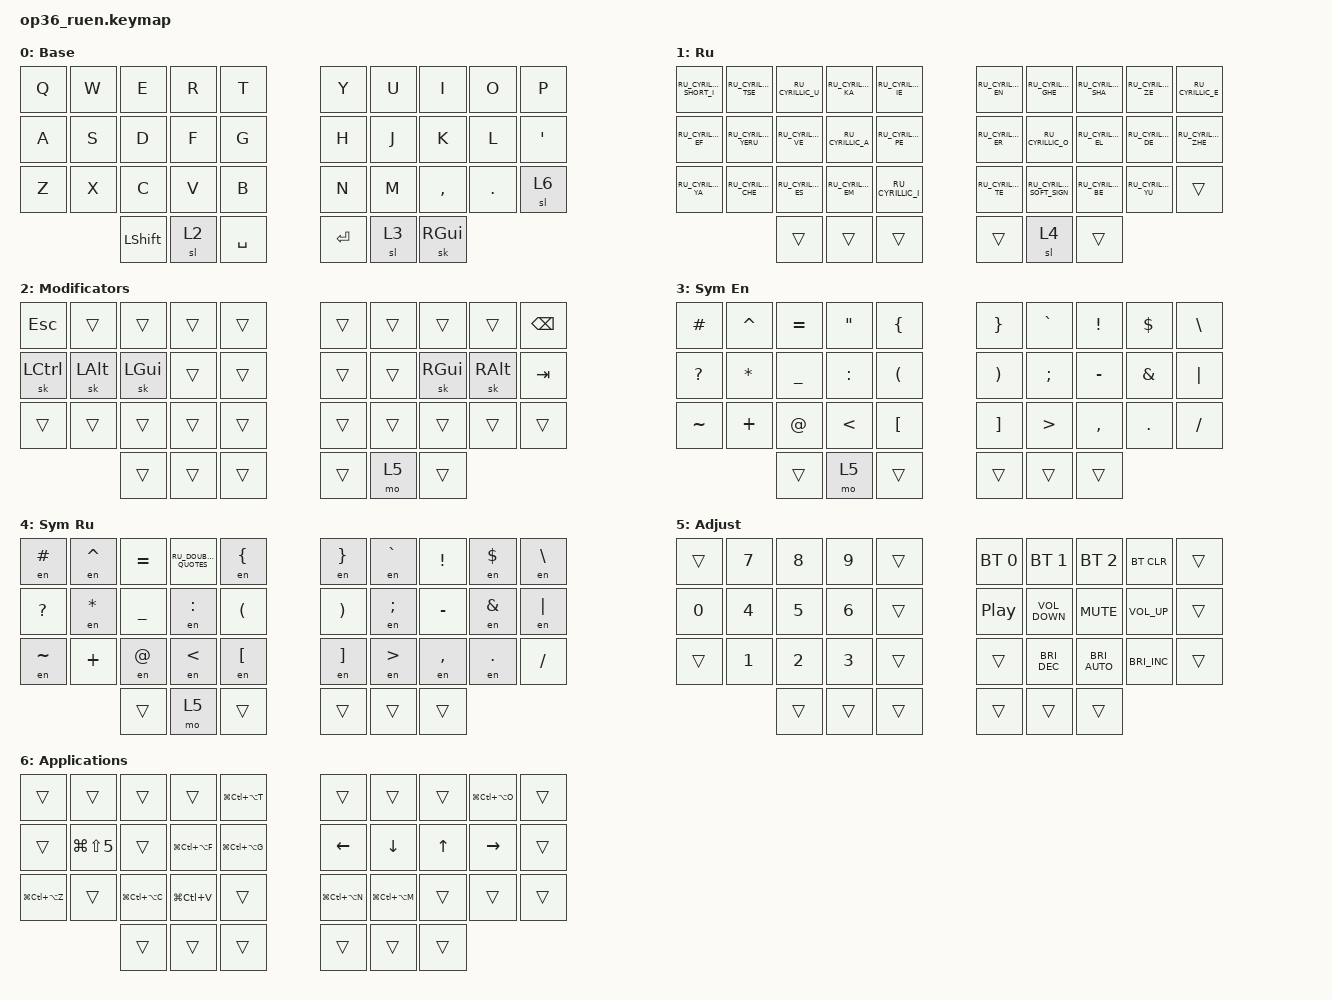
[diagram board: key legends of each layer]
#include "keys_ru.h"
#include <behaviors.dtsi>
#include <dt-bindings/zmk/bt.h>
#include <dt-bindings/zmk/keys.h>

&sk { quick-release; };

/ {
    combos {
        compatible = "zmk,combos";

        cmben {
            bindings = <&layer_en>;
            key-positions = <2 3 1>;
            layers = <1>;
        };

        cmbru {
            bindings = <&layer_ru>;
            key-positions = <2 3 1>;
            layers = <0>;
        };

        ru_kha {
            bindings = <&kp RU_CYRILLIC_HA>;
            key-positions = <8 9>;
            layers = <1>;
        };

        ru_hrdsgn {
            bindings = <&kp RU_CYRILLIC_HARD_SIGN>;
            key-positions = <26 27>;
            layers = <1>;
        };

        caps_word {
            bindings = <&caps_word>;
            key-positions = <20 29>;
        };

        percent_en {
            bindings = <&kp PERCENT>;
            key-positions = <29 28>;
            layers = <3>;
        };

        percent_ru {
            bindings = <&en PERCENT>;
            key-positions = <28 29>;
            layers = <4>;
        };

        ru_shcha {
            bindings = <&kp RU_CYRILLIC_SHCHA>;
            key-positions = <8 7>;
            layers = <1>;
        };
    };

    macros {
        to_ru: to_ru {
            compatible = "zmk,behavior-macro";
            #binding-cells = <0>;
            bindings = <&kp LS(LC(N2))>;
            label = "TO_RU";
            wait-ms = <0>;
            tap-ms = <30>;
        };

        to_en: to_en {
            compatible = "zmk,behavior-macro";
            #binding-cells = <0>;
            bindings = <&kp LS(LC(N1))>;
            label = "TO_EN";
            wait-ms = <0>;
            tap-ms = <30>;
        };

        layer_en: layer_en {
            compatible = "zmk,behavior-macro";
            #binding-cells = <0>;
            bindings = <&to 0 &to_en>;
            label = "LAYER_EN";
            wait-ms = <0>;
            tap-ms = <30>;
        };

        layer_ru: layer_ru {
            compatible = "zmk,behavior-macro";
            #binding-cells = <0>;
            bindings = <&to 1 &to_ru>;
            label = "LAYER_RU";
            tap-ms = <30>;
            wait-ms = <0>;
        };

        en: en {
            compatible = "zmk,behavior-macro-one-param";
            #binding-cells = <1>;
            bindings =
                <&to_en>,
                <&macro_press>,
                <&macro_param_1to1 &kp MACRO_PLACEHOLDER>,
                <&macro_pause_for_release>,
                <&macro_release>,
                <&macro_param_1to1 &kp MACRO_PLACEHOLDER>,
                <&macro_tap>,
                <&to_ru>;

            label = "EN";
            wait-ms = <0>;
            tap-ms = <30>;
        };

        mac_clip: mac_clip {
            compatible = "zmk,behavior-macro";
            #binding-cells = <0>;
            bindings =
                <&kp LG(SPACE)>,
                <&macro_wait_time 300>,
                <&kp LG(NUMBER_4)>;

            label = "Open Mac Spotlight Clipboard";
        };
    };

    keymap {
        compatible = "zmk,keymap";

        en {
            bindings = <
  &kp Q  &kp W  &kp E  &kp R           &kp T                          &kp Y  &kp U     &kp I      &kp O    &kp P
  &kp A  &kp S  &kp D  &kp F           &kp G                          &kp H  &kp J     &kp K      &kp L    &kp SINGLE_QUOTE
  &kp Z  &kp X  &kp C  &kp V           &kp B                          &kp N  &kp M     &kp COMMA  &kp DOT  &sl 6
                       &kp LEFT_SHIFT  &sl 2  &kp SPACE    &kp ENTER  &sl 3  &sk RGUI
            >;

            display-name = "Base";
        };

        ru {
            display-name = "Ru";
            bindings = <
  &kp RU_CYRILLIC_SHORT_I  &kp RU_CYRILLIC_TSE   &kp RU_CYRILLIC_U   &kp RU_CYRILLIC_KA  &kp RU_CYRILLIC_IE                    &kp RU_CYRILLIC_EN  &kp RU_CYRILLIC_GHE        &kp RU_CYRILLIC_SHA  &kp RU_CYRILLIC_ZE  &kp RU_CYRILLIC_E
  &kp RU_CYRILLIC_EF       &kp RU_CYRILLIC_YERU  &kp RU_CYRILLIC_VE  &kp RU_CYRILLIC_A   &kp RU_CYRILLIC_PE                    &kp RU_CYRILLIC_ER  &kp RU_CYRILLIC_O          &kp RU_CYRILLIC_EL   &kp RU_CYRILLIC_DE  &kp RU_CYRILLIC_ZHE
  &kp RU_CYRILLIC_YA       &kp RU_CYRILLIC_CHE   &kp RU_CYRILLIC_ES  &kp RU_CYRILLIC_EM  &kp RU_CYRILLIC_I                     &kp RU_CYRILLIC_TE  &kp RU_CYRILLIC_SOFT_SIGN  &kp RU_CYRILLIC_BE   &kp RU_CYRILLIC_YU  &trans
                                                                     &trans              &trans              &trans    &trans  &sl 4               &trans
            >;
        };

        mods {
            bindings = <
  &kp ESC           &trans    &trans    &trans  &trans                    &trans  &trans  &trans         &trans    &kp BACKSPACE
  &sk LEFT_CONTROL  &sk LALT  &sk LGUI  &trans  &trans                    &trans  &trans  &sk RIGHT_GUI  &sk RALT  &kp TAB
  &trans            &trans    &trans    &trans  &trans                    &trans  &trans  &trans         &trans    &trans
                                        &trans  &trans  &trans    &trans  &mo 5   &trans
            >;

            label = "Modificators";
        };

        sym_en {
            bindings = <
  &kp HASH      &kp CARET     &kp EQUAL       &kp DOUBLE_QUOTES  &kp LEFT_BRACE                          &kp RIGHT_BRACE        &kp GRAVE         &kp EXCL   &kp DOLLAR  &kp BACKSLASH
  &kp QUESTION  &kp ASTERISK  &kp UNDERSCORE  &kp COLON          &kp LEFT_PARENTHESIS                    &kp RIGHT_PARENTHESIS  &kp SEMICOLON     &kp MINUS  &kp AMPS    &kp PIPE
  &kp TILDE     &kp PLUS      &kp AT          &kp LESS_THAN      &kp LEFT_BRACKET                        &kp RBKT               &kp GREATER_THAN  &kp COMMA  &kp DOT     &kp FSLH
                                              &trans             &mo 5                 &trans    &trans  &trans                 &trans
            >;

            display-name = "Sym En";
        };

        sym_ru {
            display-name = "Sym Ru";
            bindings = <
  &en HASH      &en CARET     &kp EQUAL       &kp RU_DOUBLE_QUOTES  &en LEFT_BRACE                          &en RIGHT_BRACE        &en GRAVE         &kp EXCL   &en DOLLAR  &en BACKSLASH
  &kp QUESTION  &en ASTERISK  &kp UNDERSCORE  &en COLON             &kp LEFT_PARENTHESIS                    &kp RIGHT_PARENTHESIS  &en SEMICOLON     &kp MINUS  &en AMPS    &en PIPE
  &en TILDE     &kp PLUS      &en AT          &en LESS_THAN         &en LEFT_BRACKET                        &en RIGHT_BRACKET      &en GREATER_THAN  &en COMMA  &en DOT     &kp SLASH
                                              &trans                &mo 5                 &trans    &trans  &trans                 &trans
            >;
        };

        adj {
            bindings = <
  &trans  &kp N7  &kp N8  &kp N9  &trans                    &bt BT_SEL 0      &bt BT_SEL 1          &bt BT_SEL 2           &bt BT_CLR            &trans
  &kp N0  &kp N4  &kp N5  &kp N6  &trans                    &kp C_PLAY_PAUSE  &kp C_VOLUME_DOWN     &kp K_MUTE             &kp C_VOLUME_UP       &trans
  &trans  &kp N1  &kp N2  &kp N3  &trans                    &trans            &kp C_BRIGHTNESS_DEC  &kp C_BRIGHTNESS_AUTO  &kp C_BRIGHTNESS_INC  &trans
                          &trans  &trans  &trans    &trans  &trans            &trans
            >;

            display-name = "Adjust";
        };

        apps {
            bindings = <
  &trans             &trans                &trans             &trans             &kp LG(LC(LA(T)))                    &trans             &trans             &trans        &kp LG(LC(LA(O)))  &trans
  &trans             &kp LG(LS(NUMBER_5))  &trans             &kp LG(LC(LA(F)))  &kp LG(LC(LA(G)))                    &kp LEFT_ARROW     &kp DOWN_ARROW     &kp UP_ARROW  &kp RIGHT_ARROW    &trans
  &kp LG(LC(LA(Z)))  &trans                &kp LG(LC(LA(C)))  &kp LG(LC(V))      &trans                               &kp LG(LC(LA(N)))  &kp LG(LC(LA(M)))  &trans        &trans             &trans
                                                              &trans             &trans             &trans    &trans  &trans             &trans
            >;

            label = "Applications";
        };
    };
};
